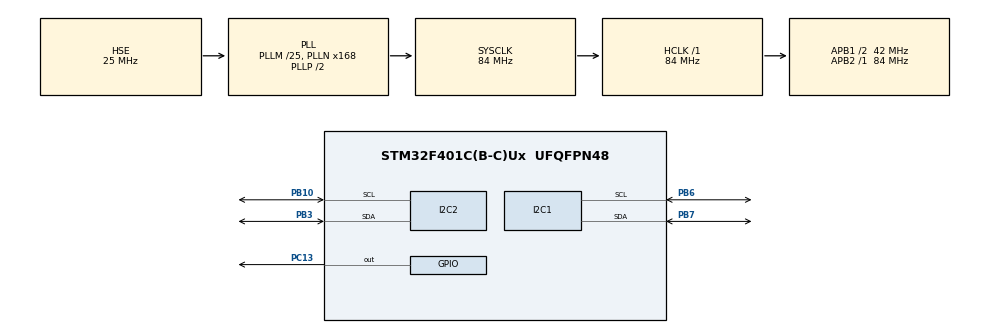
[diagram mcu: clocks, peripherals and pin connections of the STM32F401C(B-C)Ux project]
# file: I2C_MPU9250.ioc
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ADC1.Channel-0\#ChannelRegularConversion=ADC_CHANNEL_VREFINT
ADC1.Channel-1\#ChannelRegularConversion=ADC_CHANNEL_TEMPSENSOR
ADC1.ContinuousConvMode=ENABLE
ADC1.DMAContinuousRequests=ENABLE
ADC1.ExternalTrigConv=ADC_EXTERNALTRIGCONV_T3_TRGO
ADC1.NbrOfConversion=2
ADC1.NbrOfConversionFlag=1
ADC1.Rank-0\#ChannelRegularConversion=1
ADC1.Rank-1\#ChannelRegularConversion=2
ADC1.SamplingTime-0\#ChannelRegularConversion=ADC_SAMPLETIME_480CYCLES
ADC1.SamplingTime-1\#ChannelRegularConversion=ADC_SAMPLETIME_480CYCLES
ADC1.ScanConvMode=ENABLE
ADC1.master=1
Dma.ADC1.0.Direction=DMA_PERIPH_TO_MEMORY
Dma.ADC1.0.FIFOMode=DMA_FIFOMODE_DISABLE
Dma.ADC1.0.Instance=DMA2_Stream0
Dma.ADC1.0.MemDataAlignment=DMA_MDATAALIGN_HALFWORD
Dma.ADC1.0.MemInc=DMA_MINC_ENABLE
Dma.ADC1.0.Mode=DMA_CIRCULAR
Dma.ADC1.0.PeriphDataAlignment=DMA_PDATAALIGN_HALFWORD
Dma.ADC1.0.PeriphInc=DMA_PINC_DISABLE
Dma.ADC1.0.Priority=DMA_PRIORITY_LOW
Dma.Request0=ADC1
I2C2.I2C_Mode=I2C_Fast
Mcu.Family=STM32F4
Mcu.Name=STM32F401C(B-C)Ux
Mcu.Package=UFQFPN48
NVIC.ADC_IRQn=true\:0\:0\:false\:false\:true\:true\:true\:true
NVIC.DMA2_Stream0_IRQn=true\:0\:0\:false\:false\:true\:false\:true\:true
NVIC.PriorityGroup=NVIC_PRIORITYGROUP_4
NVIC.TIM1_UP_TIM10_IRQn=true\:0\:0\:false\:false\:true\:true\:true\:true
PB10.Mode=I2C
PB10.Signal=I2C2_SCL
PB3.Mode=I2C
PB3.Signal=I2C2_SDA
PB6.Mode=I2C
PB6.Signal=I2C1_SCL
PB7.Mode=I2C
PB7.Signal=I2C1_SDA
PC13-ANTI_TAMP.Signal=GPIO_Output
PH0\ -\ OSC_IN.Mode=HSE-External-Oscillator
PH0\ -\ OSC_IN.Signal=RCC_OSC_IN
PH1\ -\ OSC_OUT.Mode=HSE-External-Oscillator
PH1\ -\ OSC_OUT.Signal=RCC_OSC_OUT
ProjectManager.HeapSize=0x200
ProjectManager.StackSize=0x400
ProjectManager.TargetToolchain=STM32CubeIDE
RCC.48MHZClocksFreq_Value=42000000
RCC.AHBFreq_Value=84000000
RCC.APB1CLKDivider=RCC_HCLK_DIV2
RCC.APB1Freq_Value=42000000
RCC.APB1TimFreq_Value=84000000
RCC.APB2Freq_Value=84000000
RCC.APB2TimFreq_Value=84000000
RCC.CortexFreq_Value=84000000
RCC.HCLKFreq_Value=84000000
RCC.HSE_VALUE=25000000
RCC.HSI_VALUE=16000000
RCC.LSE_VALUE=32768
RCC.PLLM=25
RCC.PLLN=168
RCC.PLLSourceVirtual=RCC_PLLSOURCE_HSE
RCC.SYSCLKFreq_VALUE=84000000
RCC.SYSCLKSource=RCC_SYSCLKSOURCE_PLLCLK
RCC.VCOOutputFreq_Value=168000000
TIM1.Period=1000-1
TIM1.Prescaler=84-1
TIM2.Period=10000-1
TIM2.TIM_MasterOutputTrigger=TIM_TRGO_UPDATE
TIM3.Period=10000-1
TIM3.TIM_MasterOutputTrigger=TIM_TRGO_UPDATE
VP_ADC1_TempSens_Input.Mode=IN-TempSens
VP_ADC1_Vref_Input.Mode=IN-Vrefint
VP_TIM1_VS_ClockSourceINT.Mode=Internal
VP_TIM2_VS_ClockSourceINT.Mode=Internal
VP_TIM3_VS_ClockSourceINT.Mode=Internal
board=custom

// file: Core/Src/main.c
/* USER CODE BEGIN Header */
/**
 ******************************************************************************
 * @file           : main.c
 * @brief          : Main program body
 ******************************************************************************
 * @attention
 *
 * Copyright (c) 2024 STMicroelectronics.
 * All rights reserved.
 *
 * This software is licensed under terms that can be found in the LICENSE file
 * in the root directory of this software component.
 * If no LICENSE file comes with this software, it is provided AS-IS.
 *
 ******************************************************************************
 */
/* USER CODE END Header */
#include "main.h"
#include "adc.h"
#include "dma.h"
#include "i2c.h"
#include "tim.h"
#include "gpio.h"

/* USER CODE BEGIN Includes */
#include "math.h"
#include "stdio.h"
#include "string.h"
#include "ssd1306.h"
/* USER CODE END Includes */

/* USER CODE BEGIN PTD */
extern I2C_HandleTypeDef hi2c1;

#define MPU_ADDR 0xD0
#define WHO_AM_I_REG 0x75
#define PWR_MGMT_1_REG 0x6B
#define SMPLRT_DIV_REG 0x19
#define ACCEL_CONFIG_REG 0x1C
#define ACCEL_XOUT_H 0x3B
//#define TEMP_OUT_H 0x41
/* USER CODE END PTD */

/* USER CODE BEGIN PV */
int16_t aX_RAW, aY_RAW, aZ_RAW, adcRAW[2], aX0, aY0, aZ0, tempRAW;
float aX, aY, aZ, aRoll, aPitch, tempMPU, aX1, aY1, aZ1;
uint8_t AdcConvCmplt;

double temperature;
double VtmpSens;
double VrefInt;
double newTemperature;
double newRoll;
double newPitch;

int calibcount, n = 3000;
uint16_t blinkCount;

#define VREFINT 1.21
#define ADCMAX 4095.0

#define V25 0.76
#define AVG_SLOPE 0.0025
#define alpha 0.1
/* USER CODE END PV */

void SystemClock_Config(void);
/* USER CODE BEGIN PFP */
 uint8_t checkI2C_MPU9250;
/* USER CODE END PFP */

/* USER CODE BEGIN 0 */
void MPU_Init ()
{
	uint8_t check, data;
	checkI2C_MPU9250 = &check;

	HAL_I2C_Mem_Read(&hi2c1, MPU_ADDR, WHO_AM_I_REG, 1, &check, 1, HAL_MAX_DELAY);

//	if (check == 104)
//
//	{
		data = 0;
		HAL_I2C_Mem_Write(&hi2c1, MPU_ADDR, PWR_MGMT_1_REG, 1, &data, 1, HAL_MAX_DELAY);

		data = 0x07;
		HAL_I2C_Mem_Write(&hi2c1, MPU_ADDR, SMPLRT_DIV_REG, 1, &data, 1, HAL_MAX_DELAY);

		data = 0b00001100;
		HAL_I2C_Mem_Write(&hi2c1, MPU_ADDR, ACCEL_CONFIG_REG, 1, &data, 1, HAL_MAX_DELAY);

//	}
}
//void MPU_Read_TEMP ()
//{
//	uint8_t RecData [2];
//	int16_t tempRAW;
//
//	HAL_I2C_Mem_Read(&hi2c1, MPU_ADDR, TEMP_OUT_H, 1, RecData, 2, HAL_MAX_DELAY);
//	tempRAW = (int16_t) (RecData[0]<<8 | RecData [1]);
//
//	tempMPU = (tempRAW/340 + 36.53)/2;
//}
void MPU_Read_ACCEL ()
{
	uint8_t recData [8];

	HAL_I2C_Mem_Read(&hi2c1, MPU_ADDR, ACCEL_XOUT_H, 1, recData, 8, HAL_MAX_DELAY);
	aX_RAW = (int16_t)(recData[0]<<8 | recData [1]);
	aY_RAW = (int16_t)(recData[2]<<8 | recData [3]);
	aZ_RAW = (int16_t)(recData[4]<<8 | recData [5]);
	tempRAW = (int16_t)(recData[6]<<8 | recData [7]);

	tempMPU = (tempRAW/340 + 36.53)/2;

	aX = (float)(aX_RAW+(-1*aX1)/2048.00);
	aY = (float)(aY_RAW+(-1*aY1)/2048.00);
	aZ = (float)(aZ_RAW+(2048.00 - aZ1)/2048.00);

	aRoll = (atan2 (aX,aZ))*57.2957795;
	aPitch = (atan2 (aY,aZ))*57.2957795;

	//	newRoll = (alpha*aRoll)+((1-alpha)*newRoll);
	//	newPitch = (alpha*aPitch)+(1-alpha)*newPitch;
}

void MPU_Calib_ACCEL ()
{
	uint8_t RECDATA [6];
	ssd1306_SetCursor(0, 0);
	ssd1306_WriteString("Calib", Font_7x10, White);
	for (calibcount = 0; calibcount<n; calibcount++)
	{
		HAL_I2C_Mem_Read(&hi2c1, MPU_ADDR, ACCEL_XOUT_H, 1, RECDATA, 6, HAL_MAX_DELAY);
		aX0 = (int16_t)(RECDATA[0]<<8 | RECDATA [1]);
		aY0 = (int16_t)(RECDATA[2]<<8 | RECDATA [3]);
		aZ0 = (int16_t)(RECDATA[4]<<8 | RECDATA [5]);

		aX1 += aX0;
		aY1 += aY0;
		aZ1 += aZ0;

		if (calibcount==n-1)
		{
			aX1/=n;
			aY1/=n;
			aZ1/=n;
			break;
		}
	}
}
/* USER CODE END 0 */

int main(void)
{

	/* MCU Configuration--------------------------------------------------------*/

	/* Reset of all peripherals, Initializes the Flash interface and the Systick. */
	HAL_Init();

	/* Configure the system clock */
	SystemClock_Config();

	/* Initialize all configured peripherals */
	MX_GPIO_Init();
	MX_DMA_Init();
	MX_I2C1_Init();
	MX_TIM1_Init();
	MX_ADC1_Init();
	MX_I2C2_Init();
	MX_TIM2_Init();
	MX_TIM3_Init();
	/* USER CODE BEGIN 2 */
	HAL_ADC_Start_DMA(&hadc1,(uint32_t *) adcRAW, 2);
	HAL_TIM_Base_Start(&htim3);
	ssd1306_Init(&hi2c2);
	//	if (ssd1306_Init(&hi2c2)!=0)
	//	{
	//		Error_Handler();
	//	}
	//	HAL_Delay(1000);
	//
	ssd1306_UpdateScreen(&hi2c2);
	ssd1306_SetCursor(15, 15);
	ssd1306_WriteString("Calib", Font_16x26, White);
	ssd1306_UpdateScreen(&hi2c2);
//	MPU_Calib_ACCEL();
	MPU_Init();
	HAL_Delay(1000);
	ssd1306_UpdateScreen(&hi2c2);
//	MPU_Calib_ACCEL();
	/* USER CODE END 2 */

	/* Infinite loop */
	/* USER CODE BEGIN WHILE */
	while (1)
	{
		uint32_t blinkTime = HAL_GetTick();
		if ((blinkTime % 2) == 0)
		{
			blinkTime = 0;
			blinkCount++;
		}
		char buff [32];
		snprintf(buff, sizeof(buff), "%.2f, %.2f, %.2f, %.2f\r\n",aRoll, aPitch, tempMPU, newTemperature);
		//		HAL_UART_Transmit(&huart1, (uint8_t*) buff , strlen(buff), HAL_MAX_DELAY);

		if (AdcConvCmplt)
		{
			MPU_Read_ACCEL();
			//		MPU_Read_TEMP ();
			VrefInt = (VREFINT*ADCMAX)/adcRAW[0];
			VtmpSens = (VrefInt*adcRAW[1])/ADCMAX;

			temperature =(VtmpSens - V25)/(AVG_SLOPE)+ 25.0;
			newTemperature = (alpha*temperature) + ((1-alpha)*newTemperature);
			AdcConvCmplt = 0;
		}
		//
		char buff1[32];char buff2[32];char buff3[32];char buff4[32];
		//				char buff_send [32];
		//				snprintf(buff_send, sizeof(buff_send), "%.2f,%.2f,%.2f,%.2f", aPitch, aRoll, tempMPU, temperature);
		snprintf(buff1, sizeof(buff1), "Roll: %.2f", aRoll);
		snprintf(buff2, sizeof(buff2), "Pitch: %.2f", aPitch);
		snprintf(buff3, sizeof(buff3), "Temp MPU: %.2f", tempMPU);
		snprintf(buff4, sizeof(buff4), "Temp STM: %.2f", newTemperature);
		if (blinkCount >= 0 && blinkCount < 1)
		{
			ssd1306_SetCursor(0, 0);
			ssd1306_WriteString(buff1, Font_7x10, White);
			ssd1306_SetCursor(0, 15);
			ssd1306_WriteString(buff2, Font_7x10, White);
			ssd1306_SetCursor(0, 30);
			ssd1306_WriteString(buff3, Font_7x10, White);
			ssd1306_SetCursor(0, 45);
			ssd1306_WriteString(buff4, Font_7x10, White);
			ssd1306_UpdateScreen(&hi2c2);
		}
		else if (blinkCount>=1&&blinkCount<2)
		{
			ssd1306_UpdateScreen(&hi2c2);
			ssd1306_Fill(Black);
			ssd1306_UpdateScreen(&hi2c2);
		}
		else if (blinkCount ==2)
		{
			blinkCount = 0;
		}
		/* USER CODE END WHILE */

	}
}

void SystemClock_Config(void)
{
	RCC_OscInitTypeDef RCC_OscInitStruct = {0};
	RCC_ClkInitTypeDef RCC_ClkInitStruct = {0};

	/** Configure the main internal regulator output voltage
	 */
	__HAL_RCC_PWR_CLK_ENABLE();
	__HAL_PWR_VOLTAGESCALING_CONFIG(PWR_REGULATOR_VOLTAGE_SCALE2);

	/** Initializes the RCC Oscillators according to the specified parameters
	 * in the RCC_OscInitTypeDef structure.
	 */
	RCC_OscInitStruct.OscillatorType = RCC_OSCILLATORTYPE_HSE;
	RCC_OscInitStruct.HSEState = RCC_HSE_ON;
	RCC_OscInitStruct.PLL.PLLState = RCC_PLL_ON;
	RCC_OscInitStruct.PLL.PLLSource = RCC_PLLSOURCE_HSE;
	RCC_OscInitStruct.PLL.PLLM = 25;
	RCC_OscInitStruct.PLL.PLLN = 168;
	RCC_OscInitStruct.PLL.PLLP = RCC_PLLP_DIV2;
	RCC_OscInitStruct.PLL.PLLQ = 4;
	if (HAL_RCC_OscConfig(&RCC_OscInitStruct) != HAL_OK)
	{
		Error_Handler();
	}

	/** Initializes the CPU, AHB and APB buses clocks
	 */
	RCC_ClkInitStruct.ClockType = RCC_CLOCKTYPE_HCLK|RCC_CLOCKTYPE_SYSCLK
			|RCC_CLOCKTYPE_PCLK1|RCC_CLOCKTYPE_PCLK2;
	RCC_ClkInitStruct.SYSCLKSource = RCC_SYSCLKSOURCE_PLLCLK;
	RCC_ClkInitStruct.AHBCLKDivider = RCC_SYSCLK_DIV1;
	RCC_ClkInitStruct.APB1CLKDivider = RCC_HCLK_DIV2;
	RCC_ClkInitStruct.APB2CLKDivider = RCC_HCLK_DIV1;

	if (HAL_RCC_ClockConfig(&RCC_ClkInitStruct, FLASH_LATENCY_2) != HAL_OK)
	{
		Error_Handler();
	}
}

/* USER CODE BEGIN 4 */
void HAL_ADC_ConvCpltCallback (ADC_HandleTypeDef* hadc)
{
	if (hadc->Instance == ADC1)
	{
		AdcConvCmplt =255;
	}
}
/* USER CODE END 4 */

void Error_Handler(void)
{
	__disable_irq();
                                                                                                                                                                                                                                                                                                                                                                              	while (1)
	{
	}
}
